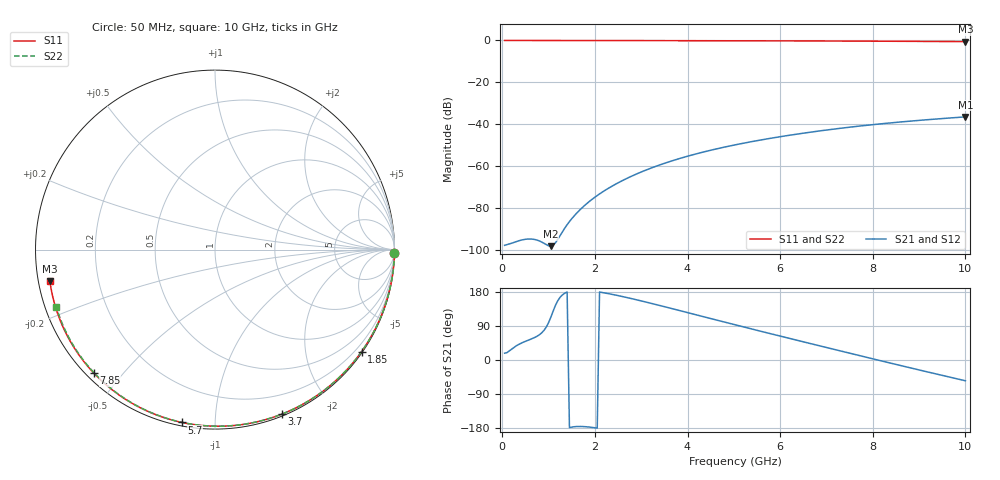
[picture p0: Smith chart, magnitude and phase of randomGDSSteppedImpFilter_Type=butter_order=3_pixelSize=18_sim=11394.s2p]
! freq	dB(S11)	phase(S11)	dB(S12)	phase(S12)
!  dB(S21)	phase(S21)	dB(S22)	phase(S22)
!S-par simulation data
#  GHz  S  DB  R 50
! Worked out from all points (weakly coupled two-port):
!   200 points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, 50 MHz to 10 GHz, reference 50 ohm
!   highest |S21| = -36.42 dB at 10 GHz (marker M1); lowest = -98.0 dB at 1.05 GHz (marker M2)
!   lowest |S11| = -0.6 dB at 10 GHz (marker M3), VSWR 30.60, Z = 1.65 - j4.77 ohm
!   |S11| at or under -10 dB: nowhere
!   |S22| runs from -0.5 to 0.0 dB; largest |S21 - S12| = 0
!   S11 on the Smith chart (normalised r, x): 50 MHz: open; 1.85 GHz: 0.03, -3.19; 3.7 GHz: 0.02, -1.49; 5.7 GHz: 0.02, -0.83; 7.85 GHz: 0.02, -0.42; 10 GHz: 0.03, -0.10
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0.05  -0.00 -1.0  -97.62 18.0  -97.62 18.0  -0.00 -0.9
0.55  -0.01 -10.5  -94.64 51.8  -94.64 51.8  -0.01 -10.2
1.05  -0.02 -20.0  -98.03 113.4  -98.03 113.4  -0.02 -19.4
1.7  -0.04 -32.1  -80.20 -175.4  -80.20 -175.4  -0.04 -31.1
1.75  -0.04 -33.0  -79.17 -175.7  -79.17 -175.7  -0.04 -32.0
1.85  -0.04 -34.9  -77.26 -176.6  -77.26 -176.6  -0.04 -33.8
2  -0.05 -37.6  -74.69 -178.8  -74.69 -178.8  -0.05 -36.4
2.15  -0.05 -40.3  -72.40 178.3  -72.40 178.3  -0.05 -39.1
2.5  -0.06 -46.7  -67.85 170.0  -67.85 170.0  -0.06 -45.2
2.9  -0.07 -53.8  -63.61 158.9  -63.61 158.9  -0.07 -52.1
3.4  -0.08 -62.6  -59.31 143.9  -59.31 143.9  -0.08 -60.6
3.7  -0.09 -67.8  -57.12 134.5  -57.12 134.5  -0.09 -65.6
4.35  -0.11 -78.8  -53.12 114.1  -53.12 114.1  -0.11 -76.2
5.05  -0.14 -90.4  -49.65 92.2  -49.65 92.2  -0.13 -87.3
5.7  -0.17 -100.9  -46.97 72.2  -46.97 72.2  -0.16 -97.3
6.2  -0.20 -108.8  -45.17 57.0  -45.17 57.0  -0.19 -104.8
6.7  -0.23 -116.6  -43.56 42.0  -43.56 42.0  -0.22 -112.2
7.25  -0.27 -125.2  -41.99 25.4  -41.99 25.4  -0.26 -120.3
7.85  -0.32 -134.5  -40.47 7.5  -40.47 7.5  -0.30 -129.0
8.35  -0.37 -142.3  -39.35 -7.3  -39.35 -7.3  -0.35 -136.2
9.2  -0.46 -155.9  -37.72 -32.0  -37.72 -32.0  -0.44 -148.4
10  -0.57 -169.1  -36.42 -54.8  -36.42 -54.8  -0.54 -160.2
